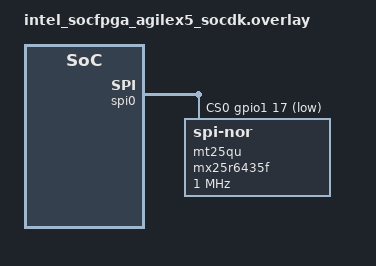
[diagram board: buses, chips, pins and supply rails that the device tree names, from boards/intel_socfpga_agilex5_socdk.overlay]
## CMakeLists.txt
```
# SPDX-License-Identifier: Apache-2.0

cmake_minimum_required(VERSION 3.28.0)
find_package(Zephyr REQUIRED HINTS $ENV{ZEPHYR_BASE})
project(flash_jesd216)

zephyr_library_include_directories(${ZEPHYR_BASE}/drivers/flash)

FILE(GLOB app_sources src/*.c)
target_sources(app PRIVATE ${app_sources})
```

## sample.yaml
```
sample:
  name: JESD216 Sample
common:
  tags:
    - spi
    - flash
  harness: console
  harness_config:
    type: multi_line
    ordered: true
    regex:
      - "sfdp-bfp ="
      - "jedec-id ="
tests:
  sample.drivers.jesd216:
    platform_exclude:
      - hifive1
      - hifive_unleashed/fu540/e51
      - hifive_unleashed/fu540/u54
      - hifive_unmatched/fu740/s7
      - hifive_unmatched/fu740/u74
      - mimxrt1170_evk/mimxrt1176/cm7
      - mimxrt1170_evk/mimxrt1176/cm4
      - nrf54lm20dk/nrf54lm20a/cpuapp
      - nrf54lm20dk/nrf54lm20b/cpuapp
    filter: dt_compat_enabled("jedec,spi-nor") or dt_compat_enabled("jedec,nor")
    depends_on: spi
  sample.drivers.jesd216.nrf52840dk_spi:
    extra_args:
      - DTC_OVERLAY_FILE=boards/nrf52840dk_nrf52840_spi.overlay
    platform_allow: nrf52840dk/nrf52840
    integration_platforms:
      - nrf52840dk/nrf52840
  sample.drivers.jesd216.nrf5340dk:
    platform_allow:
      - nrf5340dk/nrf5340/cpuapp
    integration_platforms:
      - nrf5340dk/nrf5340/cpuapp
  sample.drivers.jesd216.nrf54l:
    platform_allow:
      - nrf54l15dk/nrf54l15/cpuapp
      - nrf54l15dk/nrf54l10/cpuapp
      - nrf54l15dk/nrf54l05/cpuapp
      - nrf54lm20dk/nrf54lm20a/cpuapp
      - nrf54lm20dk/nrf54lm20b/cpuapp
    integration_platforms:
      - nrf54lm20dk/nrf54lm20a/cpuapp
    harness_config:
      fixture: external_flash
      type: multi_line
      ordered: true
      regex:
        - "sfdp-bfp ="
        - "jedec-id ="
  sample.drivers.stm32.jesd216:
    filter: dt_compat_enabled("st,stm32-xspi-nor")
      or dt_compat_enabled("st,stm32-ospi-nor")
      or dt_compat_enabled("st,stm32-qspi-nor")
    depends_on: spi
```

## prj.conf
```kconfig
CONFIG_STDOUT_CONSOLE=y
CONFIG_FLASH=y
CONFIG_FLASH_JESD216_API=y
```

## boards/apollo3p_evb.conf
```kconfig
# Copyright (c) 2024 Ambiq Micro Inc. <www.ambiq.com>
# SPDX-License-Identifier: Apache-2.0

CONFIG_FLASH_MSPI_ATXP032=y
CONFIG_MSPI_INIT_PRIORITY=40
CONFIG_FLASH_INIT_PRIORITY=50
CONFIG_PM_DEVICE=y
CONFIG_SPI=n
CONFIG_SPI_NOR=n
```

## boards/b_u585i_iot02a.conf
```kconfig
#
# Copyright (c) 2022 STMicroelectronics
#
# SPDX-License-Identifier: Apache-2.0

CONFIG_FLASH_STM32_OSPI=y
CONFIG_SPI_NOR_SFDP_RUNTIME=y
CONFIG_SPI_NOR=n
```

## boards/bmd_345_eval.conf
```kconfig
#
# Copyright (c) 2021 Linumiz
#
# SPDX-License-Identifier: Apache-2.0

CONFIG_SPI=n
CONFIG_SPI_NOR=n
CONFIG_NORDIC_QSPI_NOR=y
```

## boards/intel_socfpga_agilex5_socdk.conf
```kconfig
# Copyright (c) 2023, Intel Corporation.
# SPDX-License-Identifier: Apache-2.0

CONFIG_GPIO=y
CONFIG_SPI_NOR_FLASH_LAYOUT_PAGE_SIZE=4096
CONFIG_SPI_NOR_SFDP_MINIMAL=y
```

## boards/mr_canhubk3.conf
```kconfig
# Copyright 2023 NXP
# SPDX-License-Identifier: Apache-2.0

# Override defaults for SPI NOR flash driver
CONFIG_SPI_NOR=n
```

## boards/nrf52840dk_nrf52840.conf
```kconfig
#
# Copyright (c) 2019 Peter Bigot Consulting, LLC
# Copyright (c) 2019 Nordic Semiconductor ASA
#
# SPDX-License-Identifier: Apache-2.0
#

CONFIG_SPI=n
CONFIG_SPI_NOR=n
#CONFIG_NORDIC_QSPI_NOR=y
```

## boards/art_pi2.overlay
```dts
/*
 * SPDX-FileCopyrightText: Copyright The Zephyr Project Contributors
 * SPDX-License-Identifier: Apache-2.0
 */

&ext_flash_ctrl {
	mspi-io-mode = "MSPI_IO_MODE_SINGLE";
	mspi-data-rate = "MSPI_DATA_RATE_SINGLE";
	read-command = <0x0c>;
	write-command = <0x12>;
	command-length = "INSTR_1_BYTE";
	rx-dummy = <8>;
};
```

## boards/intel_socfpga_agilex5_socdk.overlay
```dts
/*
 * Copyright (C) 2023 Intel Corporation
 *
 * SPDX-License-Identifier: Apache-2.0
 */

#include <zephyr/dt-bindings/gpio/gpio.h>

/*
 * MT25QU256ABA connected to spi pheripheral
 */

&gpio1 {
	status = "okay";
};

&spi0 {
	status = "okay";
	cs-gpios = <&gpio1 17 GPIO_ACTIVE_LOW>;
	mt25qu: mx25r6435f@0  {
		compatible = "jedec,spi-nor";
		reg = <0>;
		spi-max-frequency = <1000000>;
		jedec-id = [20 BB 22];
		size = <2147483648>;
	};
};
```

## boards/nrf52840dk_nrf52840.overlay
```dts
/*
 * Copyright (c) 2019 Peter Bigot Consulting, LLC
 *
 * SPDX-License-Identifier: Apache-2.0
 */

/delete-node/ &storage_partition;
/delete-node/ &mx25r64;

&qspi {
	status = "disabled";
};

&spi2 {
	status = "okay";
	cs-gpios = <&gpio0 17 GPIO_ACTIVE_LOW>, <&gpio1 5 GPIO_ACTIVE_LOW>;
	mx25r64: mx25r6435f@0 {
		status = "okay";
		compatible = "jedec,spi-nor";
		reg = <0>;
		spi-max-frequency = <8000000>;
		label = "MX25R64";
		jedec-id = [c2 28 17];
		sfdp-bfp = [
			e5 20 f1 ff  ff ff ff 03  44 eb 08 6b  08 3b 04 bb
			ee ff ff ff  ff ff 00 ff  ff ff 00 ff  0c 20 0f 52
			10 d8 00 ff  23 72 f5 00  82 ed 04 cc  44 83 68 44
			30 b0 30 b0  f7 c4 d5 5c  00 be 29 ff  f0 d0 ff ff
		];

		size = <67108864>;
		has-dpd;
		t-enter-dpd = <10000>;
		dpd-wakeup-sequence = <30000 20 45000>;
		wp-gpios = <&gpio0 22 0>;
		hold-gpios = <&gpio0 23 0>;
	};
};

&mx25r64 {
	partitions {
		compatible = "fixed-partitions";
		#address-cells = <1>;
		#size-cells = <1>;

		partition@0 {
			label = "storage";
			reg = <0x00000000 0x00010000>;
		};
	};
};
```

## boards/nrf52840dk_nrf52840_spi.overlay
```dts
/*
 * Copyright (c) 2022-2023 Nordic Semiconductor ASA
 *
 * SPDX-License-Identifier: Apache-2.0
 */

/delete-node/ &mx25r64;

&qspi {
	status = "disabled";
};

/* The mx25, on nrf52840dk/nrf52840, uses pins for spi0, spi1, spi2 and spi3
 * to provide quad-spi feature. In individual specifications each of the spi
 * notes define own clock source (SCK), but spi2 shares the same clock source
 * as qspi configuration, which is pin (0,19). That is why spi2 is used here
 * to communicate with mx25, when qspi is not used, to avoid rerouting clock
 * pin.
 */
&spi2 {
	compatible = "nordic,nrf-spi";
	cs-gpios = <&gpio0 17 GPIO_ACTIVE_LOW>;
	pinctrl-0 = <&spi2_default>;
	pinctrl-1 = <&spi2_sleep>;
	pinctrl-names = "default", "sleep";
	status = "okay";

	mx25r64: mx25r6435f@0 {
		compatible = "jedec,spi-nor";
		reg = <0>;
		spi-max-frequency = <8000000>;
		jedec-id = [c2 28 17];
		size = <67108864>;
		wp-gpios = <&gpio0 22 GPIO_ACTIVE_LOW>;
		hold-gpios = <&gpio0 23 GPIO_ACTIVE_LOW>;
	};
};
```

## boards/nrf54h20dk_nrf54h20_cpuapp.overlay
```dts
/*
 * Copyright (c) 2024 Nordic Semiconductor ASA
 *
 * SPDX-License-Identifier: Apache-2.0
 */

&gpio6 {
	zephyr,pm-device-runtime-auto;
	status = "okay";
};

&exmif {
	zephyr,pm-device-runtime-auto;
	status = "okay";
};

&mx25uw63 {
	status = "okay";
};
```

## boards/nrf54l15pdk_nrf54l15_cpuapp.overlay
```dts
/*
 * Copyright (c) 2024 Nordic Semiconductor ASA
 *
 * SPDX-License-Identifier: Apache-2.0
 */

&mx25r64 {
	status = "okay";
};
```

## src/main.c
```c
/*
 * Copyright (c) 2020 Peter Bigot Consulting, LLC
 *
 * SPDX-License-Identifier: Apache-2.0
 */

#include <zephyr/kernel.h>
#include <zephyr/device.h>
#include <zephyr/drivers/flash.h>
#include <jesd216.h>
#include <stdio.h>
#include <inttypes.h>
#include <string.h>

#if DT_HAS_COMPAT_STATUS_OKAY(jedec_spi_nor)
#define FLASH_NODE DT_COMPAT_GET_ANY_STATUS_OKAY(jedec_spi_nor)
#elif DT_HAS_COMPAT_STATUS_OKAY(jedec_nor)
#define FLASH_NODE DT_COMPAT_GET_ANY_STATUS_OKAY(jedec_nor)
#elif DT_HAS_COMPAT_STATUS_OKAY(nordic_qspi_nor)
#define FLASH_NODE DT_COMPAT_GET_ANY_STATUS_OKAY(nordic_qspi_nor)
#elif DT_HAS_COMPAT_STATUS_OKAY(st_stm32_qspi_nor)
#define FLASH_NODE DT_COMPAT_GET_ANY_STATUS_OKAY(st_stm32_qspi_nor)
#elif DT_HAS_COMPAT_STATUS_OKAY(st_stm32_ospi_nor)
#define FLASH_NODE DT_COMPAT_GET_ANY_STATUS_OKAY(st_stm32_ospi_nor)
#elif DT_HAS_COMPAT_STATUS_OKAY(st_stm32_xspi_nor)
#define FLASH_NODE DT_COMPAT_GET_ANY_STATUS_OKAY(st_stm32_xspi_nor)
#elif DT_HAS_COMPAT_STATUS_OKAY(nxp_s32_qspi_nor)
#define FLASH_NODE DT_COMPAT_GET_ANY_STATUS_OKAY(nxp_s32_qspi_nor)
#elif DT_HAS_COMPAT_STATUS_OKAY(adi_max32_spixf_nor)
#define FLASH_NODE DT_COMPAT_GET_ANY_STATUS_OKAY(adi_max32_spixf_nor)
#elif DT_HAS_COMPAT_STATUS_OKAY(nxp_imx_flexspi_nor)
#define FLASH_NODE DT_COMPAT_GET_ANY_STATUS_OKAY(nxp_imx_flexspi_nor)
#elif DT_HAS_COMPAT_STATUS_OKAY(renesas_ra_ospi_b_nor)
#define FLASH_NODE DT_COMPAT_GET_ANY_STATUS_OKAY(renesas_ra_ospi_b_nor)
#elif DT_HAS_COMPAT_STATUS_OKAY(renesas_ra_qspi_nor)
#define FLASH_NODE DT_COMPAT_GET_ANY_STATUS_OKAY(renesas_ra_qspi_nor)
#elif DT_HAS_COMPAT_STATUS_OKAY(renesas_rz_qspi_xspi)
#define FLASH_NODE DT_COMPAT_GET_ANY_STATUS_OKAY(renesas_rz_qspi_xspi)
#elif DT_HAS_COMPAT_STATUS_OKAY(renesas_rz_qspi_spibsc)
#define FLASH_NODE DT_COMPAT_GET_ANY_STATUS_OKAY(renesas_rz_qspi_spibsc)
#elif DT_HAS_COMPAT_STATUS_OKAY(renesas_rza2m_qspi_spibsc)
#define FLASH_NODE DT_COMPAT_GET_ANY_STATUS_OKAY(renesas_rza2m_qspi_spibsc)
#elif DT_HAS_COMPAT_STATUS_OKAY(sifli_sf32lb_mpi_qspi_nor)
#define FLASH_NODE DT_COMPAT_GET_ANY_STATUS_OKAY(sifli_sf32lb_mpi_qspi_nor)
#elif DT_HAS_COMPAT_STATUS_OKAY(microchip_qspi_g1_flash)
#define FLASH_NODE DT_COMPAT_GET_ANY_STATUS_OKAY(microchip_qspi_g1_flash)
#else
#error Unsupported flash driver
#define FLASH_NODE DT_INVALID_NODE
#endif

typedef void (*dw_extractor)(const struct jesd216_param_header *php,
			     const struct jesd216_bfp *bfp);

static const char * const mode_tags[] = {
	[JESD216_MODE_044] = "QSPI XIP",
	[JESD216_MODE_088] = "OSPI XIP",
	[JESD216_MODE_111] = "1-1-1",
	[JESD216_MODE_112] = "1-1-2",
	[JESD216_MODE_114] = "1-1-4",
	[JESD216_MODE_118] = "1-1-8",
	[JESD216_MODE_122] = "1-2-2",
	[JESD216_MODE_144] = "1-4-4",
	[JESD216_MODE_188] = "1-8-8",
	[JESD216_MODE_222] = "2-2-2",
	[JESD216_MODE_444] = "4-4-4",
};

static void summarize_dw1(const struct jesd216_param_header *php,
			  const struct jesd216_bfp *bfp)
{
	uint32_t dw1 = sys_le32_to_cpu(bfp->dw1);

	printf("DTR Clocking %ssupported\n",
	       (dw1 & JESD216_SFDP_BFP_DW1_DTRCLK_FLG) ? "" : "not ");

	static const char *const addr_bytes[] = {
		[JESD216_SFDP_BFP_DW1_ADDRBYTES_VAL_3B] = "3-Byte only",
		[JESD216_SFDP_BFP_DW1_ADDRBYTES_VAL_3B4B] = "3- or 4-Byte",
		[JESD216_SFDP_BFP_DW1_ADDRBYTES_VAL_4B] = "4-Byte only",
		[3] = "Reserved",
	};

	printf("Addressing: %s\n", addr_bytes[(dw1 & JESD216_SFDP_BFP_DW1_ADDRBYTES_MASK)
					      >> JESD216_SFDP_BFP_DW1_ADDRBYTES_SHFT]);

	static const char *const bsersz[] = {
		[0] = "Reserved 00b",
		[JESD216_SFDP_BFP_DW1_BSERSZ_VAL_4KSUP] = "uniform",
		[2] = "Reserved 01b",
		[JESD216_SFDP_BFP_DW1_BSERSZ_VAL_4KNOTSUP] = "not uniform",
	};

	printf("4-KiBy erase: %s\n", bsersz[(dw1 & JESD216_SFDP_BFP_DW1_BSERSZ_MASK)
					    >> JESD216_SFDP_BFP_DW1_BSERSZ_SHFT]);

	for (size_t mode = 0; mode < ARRAY_SIZE(mode_tags); ++mode) {
		const char *tag = mode_tags[mode];

		if (tag) {
			struct jesd216_instr cmd;
			int rc = jesd216_bfp_read_support(php, bfp,
							  (enum jesd216_mode_type)mode,
							  &cmd);

			if (rc == 0) {
				printf("Support %s\n", tag);
			} else if (rc > 0) {
				printf("Support %s: instr %02Xh, %u mode clocks, %u waits\n",
				       tag, cmd.instr, cmd.mode_clocks, cmd.wait_states);
			}
		}
	}
}

static void summarize_dw2(const struct jesd216_param_header *php,
			  const struct jesd216_bfp *bfp)
{
	printf("Flash density: %u bytes\n", (uint32_t)(jesd216_bfp_density(bfp) / 8));
}

static void summarize_dw89(const struct jesd216_param_header *php,
			   const struct jesd216_bfp *bfp)
{
	struct jesd216_erase_type etype;
	uint32_t typ_ms;
	int typ_max_mul;

	for (uint8_t idx = 1; idx < JESD216_NUM_ERASE_TYPES; ++idx) {
		if (jesd216_bfp_erase(bfp, idx, &etype) == 0) {
			typ_max_mul = jesd216_bfp_erase_type_times(php, bfp,
								   idx, &typ_ms);

			printf("ET%u: instr %02Xh for %u By", idx, etype.cmd,
			       (uint32_t)BIT(etype.exp));
			if (typ_max_mul > 0) {
				printf("; typ %u ms, max %u ms",
				       typ_ms, typ_max_mul * typ_ms);
			}
			printf("\n");
		}
	}
}

static void summarize_dw11(const struct jesd216_param_header *php,
			   const struct jesd216_bfp *bfp)
{
	struct jesd216_bfp_dw11 dw11;

	if (jesd216_bfp_decode_dw11(php, bfp, &dw11) != 0) {
		return;
	}

	printf("Chip erase: typ %u ms, max %u ms\n",
	       dw11.chip_erase_ms, dw11.typ_max_factor * dw11.chip_erase_ms);

	printf("Byte program: type %u + %u * B us, max %u + %u * B us\n",
	       dw11.byte_prog_first_us, dw11.byte_prog_addl_us,
	       dw11.typ_max_factor * dw11.byte_prog_first_us,
	       dw11.typ_max_factor * dw11.byte_prog_addl_us);

	printf("Page program: typ %u us, max %u us\n",
	       dw11.page_prog_us,
	       dw11.typ_max_factor * dw11.page_prog_us);

	printf("Page program size: %u By\n", dw11.page_size);
}

static void summarize_dw12(const struct jesd216_param_header *php,
			   const struct jesd216_bfp *bfp)
{
	uint32_t dw12 = sys_le32_to_cpu(bfp->dw10[2]);
	uint32_t dw13 = sys_le32_to_cpu(bfp->dw10[3]);

	/* Inverted logic flag: 1 means not supported */
	if ((dw12 & JESD216_SFDP_BFP_DW12_SUSPRESSUP_FLG) != 0) {
		return;
	}

	uint8_t susp_instr = dw13 >> 24;
	uint8_t resm_instr = dw13 >> 16;
	uint8_t psusp_instr = dw13 >> 8;
	uint8_t presm_instr = dw13 >> 0;

	printf("Suspend: %02Xh ; Resume: %02Xh\n",
	       susp_instr, resm_instr);
	if ((susp_instr != psusp_instr)
	    || (resm_instr != presm_instr)) {
		printf("Program suspend: %02Xh ; Resume: %02Xh\n",
		       psusp_instr, presm_instr);
	}
}

static void summarize_dw14(const struct jesd216_param_header *php,
			   const struct jesd216_bfp *bfp)
{
	struct jesd216_bfp_dw14 dw14;

	if (jesd216_bfp_decode_dw14(php, bfp, &dw14) != 0) {
		return;
	}
	printf("DPD: Enter %02Xh, exit %02Xh ; delay %u ns ; poll 0x%02x\n",
	       dw14.enter_dpd_instr, dw14.exit_dpd_instr,
	       dw14.exit_delay_ns, dw14.poll_options);
}

static void summarize_dw15(const struct jesd216_param_header *php,
			   const struct jesd216_bfp *bfp)
{
	struct jesd216_bfp_dw15 dw15;

	if (jesd216_bfp_decode_dw15(php, bfp, &dw15) != 0) {
		return;
	}
	printf("HOLD or RESET Disable: %ssupported\n",
	       dw15.hold_reset_disable ? "" : "un");
	printf("QER: %u\n", dw15.qer);
	if (dw15.support_044) {
		printf("0-4-4 Mode methods: entry 0x%01x ; exit 0x%02x\n",
		       dw15.entry_044, dw15.exit_044);
	} else {
		printf("0-4-4 Mode: not supported\n");
	}
	printf("4-4-4 Mode sequences: enable 0x%02x ; disable 0x%01x\n",
	       dw15.enable_444, dw15.disable_444);
}

static void summarize_dw16(const struct jesd216_param_header *php,
			   const struct jesd216_bfp *bfp)
{
	struct jesd216_bfp_dw16 dw16;

	if (jesd216_bfp_decode_dw16(php, bfp, &dw16) != 0) {
		return;
	}

	uint8_t addr_support = jesd216_bfp_addrbytes(bfp);

	/* Don't display bits when 4-byte addressing is not supported. */
	if (addr_support != JESD216_SFDP_BFP_DW1_ADDRBYTES_VAL_3B) {
		printf("4-byte addressing support: enter 0x%02x, exit 0x%03x\n",
		       dw16.enter_4ba, dw16.exit_4ba);
	}
	printf("Soft Reset and Rescue Sequence support: 0x%02x\n",
	       dw16.srrs_support);
	printf("Status Register 1 support: 0x%02x\n",
	       dw16.sr1_interface);
}

static void summarize_dw19(const struct jesd216_param_header *php,
			   const struct jesd216_bfp *bfp)
{
	struct jesd216_bfp_dw19 dw19;

	if (jesd216_bfp_decode_dw19(php, bfp, &dw19) != 0) {
		return;
	}

	printf("Octal Enable Requirement: %u\n", dw19.octal_enable_req);
}

/* Indexed from 1 to match JESD216 data word numbering */
static const dw_extractor extractor[] = {
	[1] = summarize_dw1,
	[2] = summarize_dw2,
	[8] = summarize_dw89,
	[11] = summarize_dw11,
	[12] = summarize_dw12,
	[14] = summarize_dw14,
	[15] = summarize_dw15,
	[16] = summarize_dw16,
	[19] = summarize_dw19,
};

static void dump_bfp(const struct jesd216_param_header *php,
		     const struct jesd216_bfp *bfp)
{
	uint8_t dw = 1;
	uint8_t limit = MIN(1U + php->len_dw, ARRAY_SIZE(extractor));

	printf("Summary of BFP content:\n");
	while (dw < limit) {
		dw_extractor ext = extractor[dw];

		if (ext != 0) {
			ext(php, bfp);
		}
		++dw;
	}
}

static void dump_bytes(const struct jesd216_param_header *php,
		       const uint32_t *dw)
{
	char buffer[4 * 3 + 1]; /* B1 B2 B3 B4 */
	uint8_t nw = 0;

	printf(" [\n\t");
	while (nw < php->len_dw) {
		const uint8_t *u8p = (const uint8_t *)&dw[nw];
		++nw;

		bool emit_nl = (nw == php->len_dw) || ((nw % 4) == 0);

		sprintf(buffer, "%02x %02x %02x %02x",
			u8p[0], u8p[1], u8p[2], u8p[3]);
		if (emit_nl) {
			printf("%s\n\t", buffer);
		} else {
			printf("%s  ", buffer);
		}
	}
	printf("];\n");
}

int main(void)
{
	const struct device *const dev = DEVICE_DT_GET(FLASH_NODE);

	if (!device_is_ready(dev)) {
		printf("%s: device not ready\n", dev->name);
		return 0;
	}

	const uint8_t decl_nph = 5;
	union {
		uint8_t raw[JESD216_SFDP_SIZE(decl_nph)];
		struct jesd216_sfdp_header sfdp;
	} u;
	const struct jesd216_sfdp_header *hp = &u.sfdp;
	int rc = flash_sfdp_read(dev, 0, u.raw, sizeof(u.raw));

	if (rc != 0) {
		printf("Read SFDP not supported: device not JESD216-compliant "
		       "(err %d)\n", rc);
		return 0;
	}

	uint32_t magic = jesd216_sfdp_magic(hp);

	if (magic != JESD216_SFDP_MAGIC) {
		printf("SFDP magic %08x invalid", magic);
		return 0;
	}

	printf("%s: SFDP v %u.%u AP %x with %u PH\n", dev->name,
		hp->rev_major, hp->rev_minor, hp->access, 1 + hp->nph);

	const struct jesd216_param_header *php = hp->phdr;
	const struct jesd216_param_header *phpe = php + MIN(decl_nph, 1 + hp->nph);

	while (php != phpe) {
		uint16_t id = jesd216_param_id(php);
		uint32_t addr = jesd216_param_addr(php);

		printf("PH%u: %04x rev %u.%u: %u DW @ %x\n",
		       (uint32_t)(php - hp->phdr), id, php->rev_major, php->rev_minor,
		       php->len_dw, addr);

		uint32_t dw[php->len_dw];

		rc = flash_sfdp_read(dev, addr, dw, sizeof(dw));
		if (rc != 0) {
			printf("Read failed: %d\n", rc);
			return 0;
		}

		if (id == JESD216_SFDP_PARAM_ID_BFP) {
			const struct jesd216_bfp *bfp = (struct jesd216_bfp *)dw;

			dump_bfp(php, bfp);
			printf("size = <%u>; // bits\n", (uint32_t)jesd216_bfp_density(bfp));
			printf("sfdp-bfp =");
		} else {
			printf("sfdp-%04x =", id);
		}

		dump_bytes(php, dw);

		++php;
	}

	uint8_t id[3];

	rc = flash_read_jedec_id(dev, id);
	if (rc == 0) {
		printf("jedec-id = [%02x %02x %02x];\n",
		       id[0], id[1], id[2]);
	} else {
		printf("JEDEC ID read failed: %d\n", rc);
	}
	return 0;
}
```
